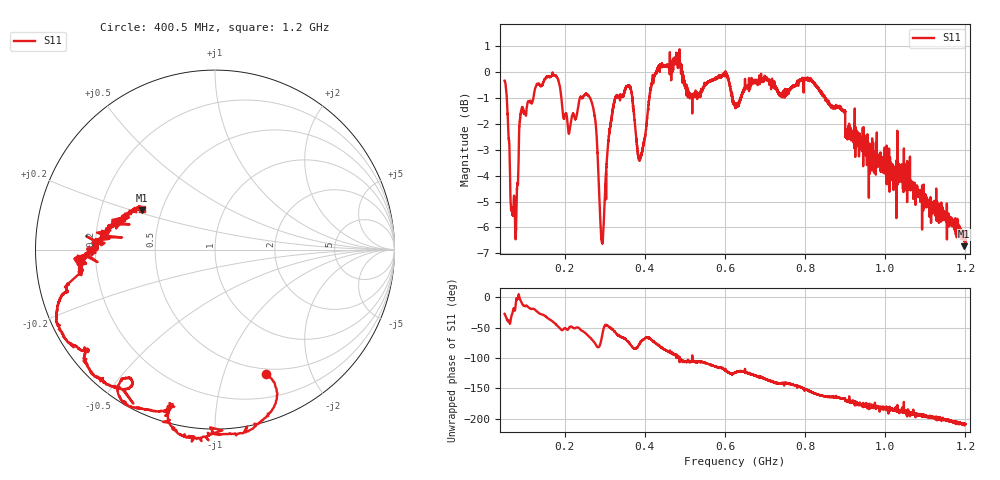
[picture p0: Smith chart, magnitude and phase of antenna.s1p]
! Calibrated high-resolution NanoVNA antenna measurement
# Hz S RI R 50
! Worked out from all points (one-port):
!   40001 points, 50 MHz to 1.2 GHz, reference 50 ohm
!   lowest |S11| = -6.7 dB at 1.197 GHz (marker M1), VSWR 2.71, Z = 19.5 + j10.8 ohm
!   |S11| at or under -10 dB: nowhere
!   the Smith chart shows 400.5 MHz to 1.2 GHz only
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5e7  0.8547 -0.4445
5.851e7  0.6167 -0.5009
6.656e7  0.4604 -0.2886
8.412625e7  0.6317 0.0223
9.194625e7  0.8386 -0.123
1.305288e8  0.8712 -0.3783
1.703188e8  0.7549 -0.6391
1.9375e8  0.4983 -0.6956
2.3768e8  0.5487 -0.7036
2.703112e8  0.2734 -0.8148
2.851175e8  0.0855 -0.6018
2.975662e8  0.3264 -0.397
3.132638e8  0.5006 -0.5977
3.375e8  0.3928 -0.8089
3.6188e8  0.2296 -0.9131
3.740412e8  0.0759 -0.8101
3.916362e8  0.2109 -0.661
4.14205e8  0.3331 -0.8643
4.8125e8  -0.1459 -1.043
5.075562e8  -0.2629 -0.8677
5.938925e8  -0.4446 -0.8816
6.25e8  -0.4906 -0.7144
7.6875e8  -0.7593 -0.5509
8.206438e8  -0.8838 -0.3685
9.125e8  -0.7578 -0.1089
1.05625e9  -0.6097 0.0989
1.196924e9  -0.4057 0.2188
1.2e9  -0.4136 0.2319
